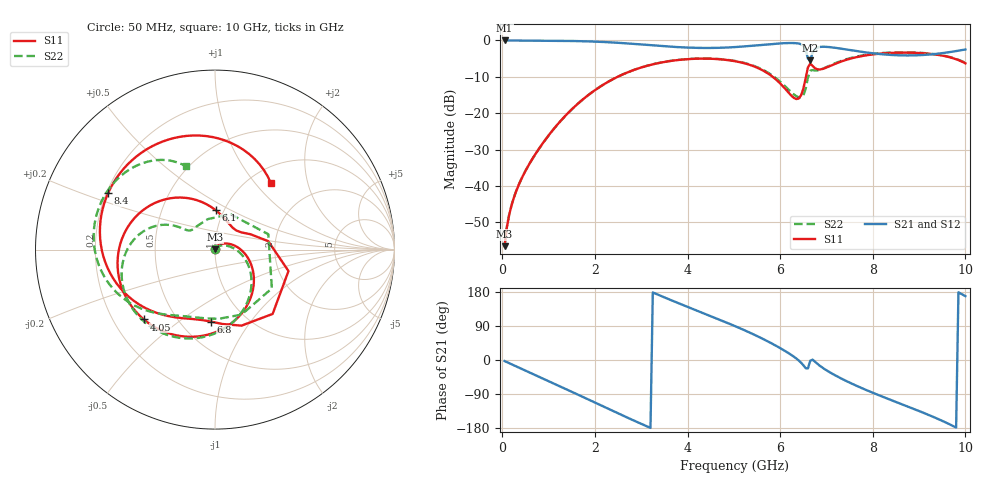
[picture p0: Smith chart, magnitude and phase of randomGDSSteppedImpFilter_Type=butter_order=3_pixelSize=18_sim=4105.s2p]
! freq	dB(S11)	phase(S11)	dB(S12)	phase(S12)
!  dB(S21)	phase(S21)	dB(S22)	phase(S22)
!S-par simulation data
#  GHz  S  DB  R 50
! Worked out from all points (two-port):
!   200 points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, 50 MHz to 10 GHz, reference 50 ohm
!   highest |S21| = -0.01 dB at 50 MHz (marker M1); lowest = -5.4 dB at 6.65 GHz (marker M2)
!   |S21| within 3 dB of the highest: start of sweep to 6.56 GHz; 6.719 GHz to 7.696 GHz (976.6 MHz wide, 13.6 % of centre) (the widest 2 of 3)
!   lowest |S11| = -56.5 dB at 50 MHz (marker M3), VSWR 1.00, Z = 50.1 + j0.14 ohm
!   |S11| at or under -10 dB: start of sweep to 2.489 GHz; 5.839 GHz to 6.557 GHz (718.2 MHz wide, 11.6 % of centre)
!   |S22| runs from -56.4 to -3.2 dB; largest |S21 - S12| = 0
!   S11 on the Smith chart (normalised r, x): 50 MHz: 1.00, +0.00; 4.05 GHz: 0.33, -0.37; 6.1 GHz: 0.91, +0.42; 6.8 GHz: 0.69, -0.66; 8.4 GHz: 0.21, +0.24; 10 GHz: 1.25, +1.21
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0.05  -56.51 69.4  -0.01 -2.8  -0.01 -2.8  -56.45 68.2
0.2  -45.28 74.7  -0.02 -11.2  -0.02 -11.2  -45.22 69.5
0.5  -35.83 65.9  -0.04 -27.8  -0.04 -27.8  -35.81 55.4
1.15  -23.71 31.6  -0.09 -64.1  -0.09 -64.1  -23.73 20.0
1.75  -16.09 -4.3  -0.22 -98.1  -0.22 -98.1  -16.10 -12.2
2.6  -9.34 -55.5  -0.73 -146.4  -0.73 -146.4  -9.33 -57.9
3.4  -6.15 -101.0  -1.50 170.4  -1.50 170.4  -6.13 -98.4
4.05  -5.10 -135.6  -1.99 137.8  -1.99 137.8  -5.07 -128.4
5.05  -5.76 170.6  -1.81 88.1  -1.81 88.1  -5.69 -171.8
5.6  -8.06 135.0  -1.22 57.4  -1.22 57.4  -7.89 164.4
6.1  -13.16 89.2  -0.75 24.2  -0.75 24.2  -12.51 148.0
6.4  -15.96 42.1  -0.86 -1.1  -0.86 -1.1  -15.61 135.5
6.55  -10.45 9.0  -2.49 -21.5  -2.49 -21.5  -13.34 66.7
6.6  -7.40 -16.3  -5.04 -22.2  -5.04 -22.2  -10.20 16.1
6.65  -6.35 -48.1  -5.45 -1.8  -5.45 -1.8  -8.32 -34.3
6.7  -6.96 -70.8  -3.38 0.9  -3.38 0.9  -8.15 -67.8
6.8  -7.92 -93.3  -1.99 -9.8  -1.99 -9.8  -8.25 -98.8
7.4  -5.44 -147.6  -2.42 -53.8  -2.42 -53.8  -5.27 -145.1
8.35  -3.46 154.9  -3.95 -103.5  -3.95 -103.5  -3.34 173.5
8.4  -3.43 152.1  -3.99 -105.9  -3.99 -105.9  -3.31 171.5
9.3  -3.78 100.9  -3.79 -149.8  -3.79 -149.8  -3.70 136.9
10  -6.29 50.0  -2.49 168.5  -2.49 168.5  -6.15 109.4
